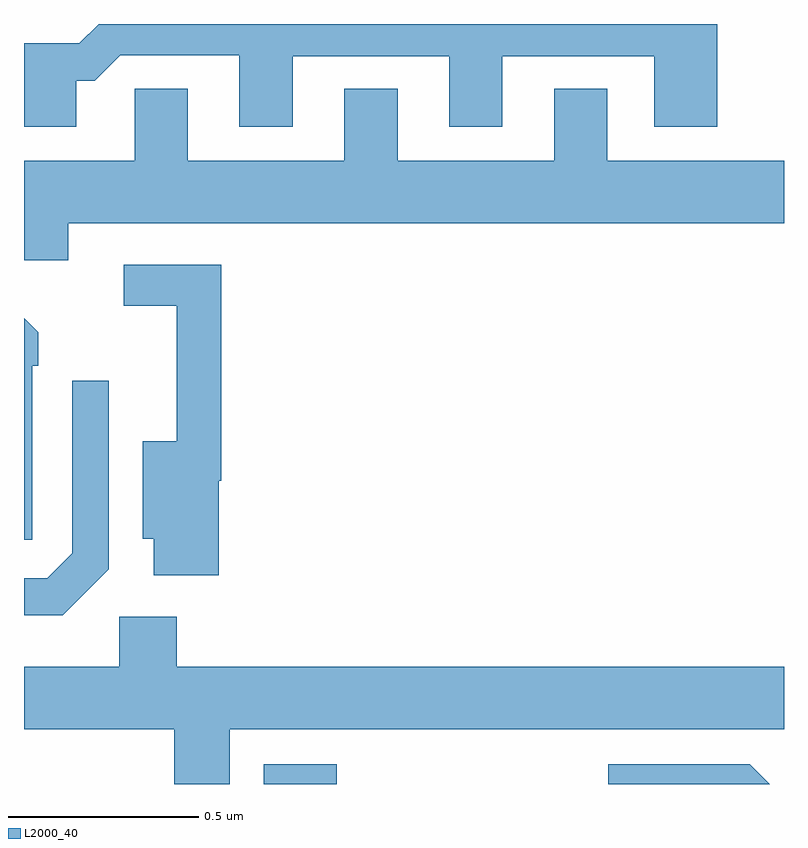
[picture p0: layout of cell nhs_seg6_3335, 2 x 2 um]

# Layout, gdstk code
import gdstk
lib = gdstk.Library(unit=1e-6, precision=1e-09)
def R(c, l, rs):  # rectangles x0, y0, x1, y1
    for r in rs: c.add(gdstk.rectangle(r[:2], r[2:], *l))
def P(c, l, *ps):  # polygons
    for p in ps: c.add(gdstk.Polygon(p, *l))
L2000_40 = (2000, 40)

nhs_seg6_3335 = lib.new_cell('nhs_seg6_3335')
R(nhs_seg6_3335, L2000_40, [(155.631,972.5,155.823,972.552)])
P(nhs_seg6_3335, L2000_40, [(155.137,974.351),(155.186,974.351),(155.253,974.418),(155.567,974.418),(155.567,974.229),(155.707,974.229),(155.707,974.415),(156.119,974.415),(156.119,974.229),(156.259,974.229),(156.259,974.415),(156.659,974.415),(156.659,974.229),(156.824,974.229),(156.824,974.5),(155.197,974.5),(155.146,974.449),(155,974.449),(155,974.229),(155.137,974.229)],
  [(155.116,973.976),(157,973.976),(157,974.14),(156.535,974.14),(156.535,974.33),(156.395,974.33),(156.395,974.14),(155.983,974.14),(155.983,974.33),(155.843,974.33),(155.843,974.14),(155.431,974.14),(155.431,974.33),(155.292,974.33),(155.292,974.14),(155,974.14),(155,973.878),(155.116,973.878)],
  [(155.513,973.298),(155.519,973.298),(155.519,973.866),(155.262,973.866),(155.262,973.758),(155.402,973.758),(155.402,973.402),(155.312,973.402),(155.312,973.145),(155.342,973.145),(155.342,973.05),(155.513,973.05)],
  [(155.022,973.601),(155.037,973.601),(155.037,973.689),(155,973.726),(155,973.143),(155.022,973.143)],
  [(155.223,973.065),(155.223,973.561),(155.127,973.561),(155.127,973.107),(155.061,973.041),(155,973.041),(155,972.944),(155.102,972.944)],
  [(155.542,972.644),(157,972.644),(157,972.808),(155.402,972.808),(155.402,972.94),(155.25,972.94),(155.25,972.808),(155,972.808),(155,972.644),(155.395,972.644),(155.395,972.5),(155.542,972.5)],
  [(156.91,972.552),(156.537,972.552),(156.537,972.5),(156.963,972.5)])

lib.write_gds('nhs_seg6_3335.gds')
